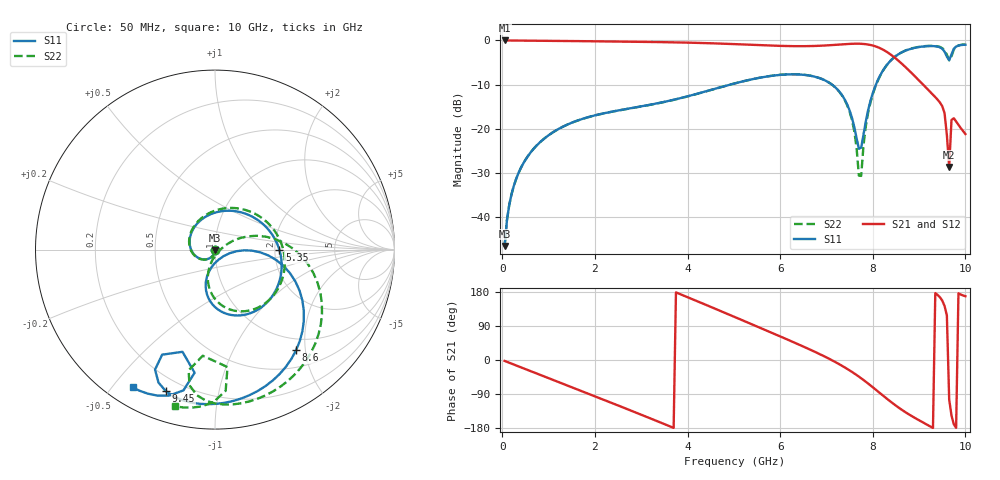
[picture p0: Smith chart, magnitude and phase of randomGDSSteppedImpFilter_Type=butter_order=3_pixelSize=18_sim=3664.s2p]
! freq	dB(S11)	phase(S11)	dB(S12)	phase(S12)
!  dB(S21)	phase(S21)	dB(S22)	phase(S22)
!S-par simulation data
#  GHz  S  DB  R 50
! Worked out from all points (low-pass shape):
!   200 points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, 50 MHz to 10 GHz, reference 50 ohm
!   highest |S21| = -0.01 dB at 50 MHz (marker M1); lowest = -28.7 dB at 9.65 GHz (marker M2)
!   |S21| within 3 dB of the highest: start of sweep to 8.361 GHz
!   lowest |S11| = -46.6 dB at 50 MHz (marker M3), VSWR 1.01, Z = 50 - j0.466 ohm
!   |S11| at or under -10 dB: start of sweep to 4.927 GHz; 7.116 GHz to 8.069 GHz (953.6 MHz wide, 12.6 % of centre)
!   |S22| runs from -46.7 to -0.9 dB; largest |S21 - S12| = 0
!   S11 on the Smith chart (normalised r, x): 50 MHz: 1.00, -0.01; 5.35 GHz: 2.12, -0.01; 8.6 GHz: 0.78, -1.82; 9.45 GHz: 0.13, -0.70; 10 GHz: 0.07, -0.56
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0.05  -46.63 -89.6  -0.01 -2.4  -0.01 -2.4  -46.67 -88.9
0.2  -34.86 -99.3  -0.02 -9.7  -0.02 -9.7  -34.85 -99.1
0.5  -27.08 -114.8  -0.04 -24.0  -0.04 -24.0  -27.08 -114.3
1.75  -17.73 -176.5  -0.17 -83.8  -0.17 -83.8  -17.74 -173.8
2.5  -15.89 146.0  -0.25 -120.0  -0.25 -120.0  -15.90 151.1
3.4  -14.16 99.9  -0.38 -164.1  -0.38 -164.1  -14.18 108.7
4.15  -12.26 61.1  -0.54 158.2  -0.54 158.2  -12.28 72.4
5.05  -9.66 15.0  -0.85 111.9  -0.85 111.9  -9.67 27.3
5.35  -8.91 -0.2  -0.98 96.3  -0.98 96.3  -8.91 11.9
6.7  -8.11 -68.7  -1.27 24.4  -1.27 24.4  -8.10 -58.6
7.4  -13.52 -104.3  -0.85 -19.9  -0.85 -19.9  -13.64 -99.5
7.75  -24.33 -36.0  -0.76 -48.2  -0.76 -48.2  -30.73 -1.1
7.85  -18.35 -4.2  -0.85 -57.4  -0.85 -57.4  -19.41 26.1
7.95  -13.71 -1.6  -1.03 -66.9  -1.03 -66.9  -14.06 21.9
8.35  -4.98 -30.2  -2.92 -106.6  -2.92 -106.6  -4.99 -13.3
8.6  -2.85 -51.2  -5.02 -129.2  -5.02 -129.2  -2.83 -35.2
9.05  -1.42 -83.1  -9.62 -162.3  -9.62 -162.3  -1.38 -67.7
9.45  -1.57 -109.2  -14.07 165.7  -14.07 165.7  -1.47 -93.3
9.55  -2.53 -116.6  -16.48 142.7  -16.48 142.7  -2.28 -100.7
9.65  -4.47 -107.6  -28.69 -104.3  -28.69 -104.3  -4.50 -96.5
9.7  -3.15 -99.4  -18.04 -146.6  -18.04 -146.6  -3.63 -83.9
10  -0.97 -120.9  -21.23 168.3  -21.23 168.3  -0.90 -104.3
